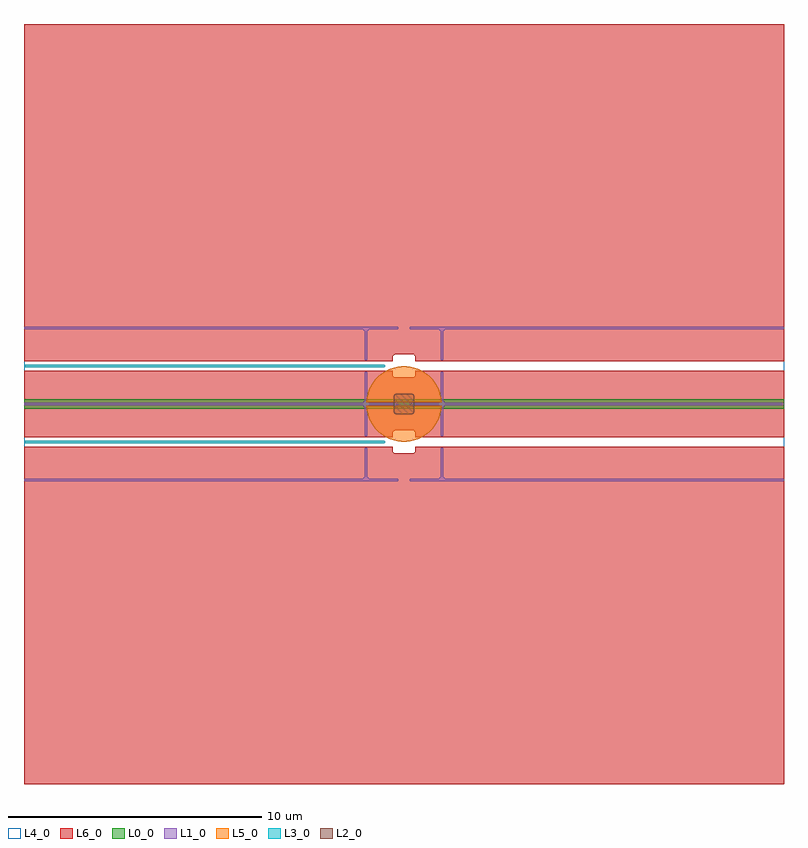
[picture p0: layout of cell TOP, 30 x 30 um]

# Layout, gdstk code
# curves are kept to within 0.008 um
import gdstk
lib = gdstk.Library(unit=1e-6, precision=1e-09)
def R(c, l, rs):  # rectangles x0, y0, x1, y1
    for r in rs: c.add(gdstk.rectangle(r[:2], r[2:], *l))
def P(c, l, *ps):  # polygons
    for p in ps: c.add(gdstk.Polygon(p, *l))
L0_0 = (0, 0)
L1_0 = (1, 0)
L2_0 = (2, 0)
L3_0 = (3, 0)
L4_0 = (4, 0)
L5_0 = (5, 0)
L6_0 = (6, 0)

top = lib.new_cell('TOP')
R(top, L0_0, [(-15,-0.194,15,0.194)])
P(top, L1_0, [(-14.957,-3.05),(-14.984,-3.037),(-15,-3.007),(-14.987,-2.966),(-14.957,-2.95),(-1.645,-2.949),(-1.586,-2.921),(-1.551,-2.855),(-1.55,-1.768),(-1.537,-1.741),(-1.507,-1.725),(-1.466,-1.738),(-1.45,-1.768),(-1.45,-2.844),(-1.444,-2.876),(-1.414,-2.921),(-1.344,-2.95),(-0.268,-2.95),(-0.241,-2.963),(-0.225,-2.993),(-0.238,-3.034),(-0.268,-3.05)],
  [(0.268,-3.05),(0.241,-3.037),(0.225,-3.007),(0.238,-2.966),(0.268,-2.95),(1.344,-2.95),(1.376,-2.944),(1.421,-2.914),(1.45,-2.844),(1.45,-1.768),(1.463,-1.741),(1.493,-1.725),(1.534,-1.738),(1.55,-1.768),(1.551,-2.855),(1.579,-2.914),(1.645,-2.949),(14.957,-2.95),(14.984,-2.963),(15,-2.993),(14.987,-3.034),(14.957,-3.05)],
  [(-1.507,-1.275),(-1.534,-1.262),(-1.55,-1.232),(-1.551,-0.145),(-1.579,-0.086),(-1.645,-0.051),(-14.957,-0.05),(-14.987,-0.034),(-15,0.007),(-14.987,0.034),(-14.957,0.05),(-1.645,0.051),(-1.586,0.079),(-1.551,0.145),(-1.55,1.232),(-1.534,1.262),(-1.493,1.275),(-1.466,1.262),(-1.45,1.232),(-1.45,0.156),(-1.421,0.086),(-1.376,0.056),(-1.344,0.05),(-0.268,0.05),(-0.238,0.034),(-0.225,-0.007),(-0.238,-0.034),(-0.268,-0.05),(-1.344,-0.05),(-1.414,-0.079),(-1.444,-0.124),(-1.45,-0.156),(-1.45,-1.232),(-1.466,-1.262)],
  [(1.493,-1.275),(1.466,-1.262),(1.45,-1.232),(1.45,-0.156),(1.421,-0.086),(1.376,-0.056),(1.344,-0.05),(0.268,-0.05),(0.241,-0.037),(0.225,-0.007),(0.238,0.034),(0.268,0.05),(1.344,0.05),(1.376,0.056),(1.421,0.086),(1.45,0.156),(1.45,1.232),(1.463,1.259),(1.493,1.275),(1.534,1.262),(1.55,1.232),(1.551,0.145),(1.579,0.086),(1.645,0.051),(14.957,0.05),(14.984,0.037),(15,0.007),(14.987,-0.034),(14.957,-0.05),(1.645,-0.051),(1.586,-0.079),(1.551,-0.145),(1.55,-1.232),(1.534,-1.262)],
  [(-1.507,1.725),(-1.534,1.738),(-1.55,1.768),(-1.551,2.855),(-1.579,2.914),(-1.645,2.949),(-14.957,2.95),(-14.987,2.966),(-15,3.007),(-14.987,3.034),(-14.957,3.05),(-0.268,3.05),(-0.241,3.037),(-0.225,3.007),(-0.238,2.966),(-0.268,2.95),(-1.344,2.95),(-1.376,2.944),(-1.421,2.914),(-1.45,2.844),(-1.45,1.768),(-1.466,1.738)],
  [(1.493,1.725),(1.466,1.738),(1.45,1.768),(1.45,2.844),(1.421,2.914),(1.376,2.944),(1.344,2.95),(0.268,2.95),(0.241,2.963),(0.225,2.993),(0.238,3.034),(0.268,3.05),(14.957,3.05),(14.984,3.037),(15,3.007),(14.987,2.966),(14.957,2.95),(1.645,2.949),(1.586,2.921),(1.551,2.855),(1.55,1.768),(1.534,1.738)])
P(top, L2_0, [(-0.305,-0.4),(-0.367,-0.374),(-0.391,-0.343),(-0.4,-0.305),(-0.4,0.305),(-0.374,0.367),(-0.343,0.391),(-0.305,0.4),(0.305,0.4),(0.367,0.374),(0.391,0.343),(0.4,0.305),(0.4,-0.305),(0.374,-0.367),(0.343,-0.391),(0.305,-0.4)])
P(top, L3_0, [(-14.957,-1.55),(-14.984,-1.537),(-15,-1.507),(-14.987,-1.466),(-14.957,-1.45),(-0.793,-1.45),(-0.766,-1.463),(-0.75,-1.493),(-0.763,-1.534),(-0.793,-1.55)],
  [(-14.957,1.45),(-14.984,1.463),(-15,1.493),(-14.987,1.534),(-14.957,1.55),(-0.793,1.55),(-0.766,1.537),(-0.75,1.507),(-0.763,1.466),(-0.793,1.45)])
R(top, L4_0, [(-15,-15,15,15)])
P(top, L5_0, [(-0.037,-1.49),(-0.327,-1.454),(-0.604,-1.363),(-0.858,-1.219),(-1.028,-1.079),(-1.219,-0.858),(-1.363,-0.604),(-1.454,-0.327),(-1.488,-0.065),(1.488,-0.065),(1.454,-0.327),(1.363,-0.604),(1.219,-0.858),(1.028,-1.079),(0.797,-1.259),(0.536,-1.391),(0.255,-1.469)],
  [(-1.488,0.065),(-1.454,0.327),(-1.363,0.604),(-1.219,0.858),(-1.028,1.079),(-0.858,1.219),(-0.604,1.363),(-0.327,1.454),(-0.037,1.49),(0.255,1.469),(0.536,1.391),(0.797,1.259),(1.028,1.079),(1.219,0.858),(1.363,0.604),(1.454,0.327),(1.488,0.065)])
P(top, L6_0, [(-15,-15),(-15,-1.694),(-0.45,-1.694),(-0.441,-1.893),(-0.401,-1.936),(-0.355,-1.95),(0.384,-1.944),(0.424,-1.917),(0.447,-1.874),(0.45,-1.694),(15,-1.694),(15,-15)],
  [(-15,-1.305),(-15,1.305),(-0.45,1.305),(-0.441,1.107),(-0.401,1.064),(-0.355,1.05),(0.384,1.056),(0.424,1.083),(0.447,1.126),(0.45,1.305),(15,1.305),(15,-1.305),(0.45,-1.305),(0.441,-1.107),(0.401,-1.064),(0.355,-1.05),(-0.384,-1.056),(-0.424,-1.083),(-0.447,-1.126),(-0.45,-1.305)],
  [(-15,1.694),(-15,15),(15,15),(15,1.694),(0.45,1.694),(0.441,1.893),(0.401,1.936),(0.355,1.95),(-0.384,1.944),(-0.424,1.917),(-0.447,1.874),(-0.45,1.694)])

lib.write_gds('TOP.gds')
